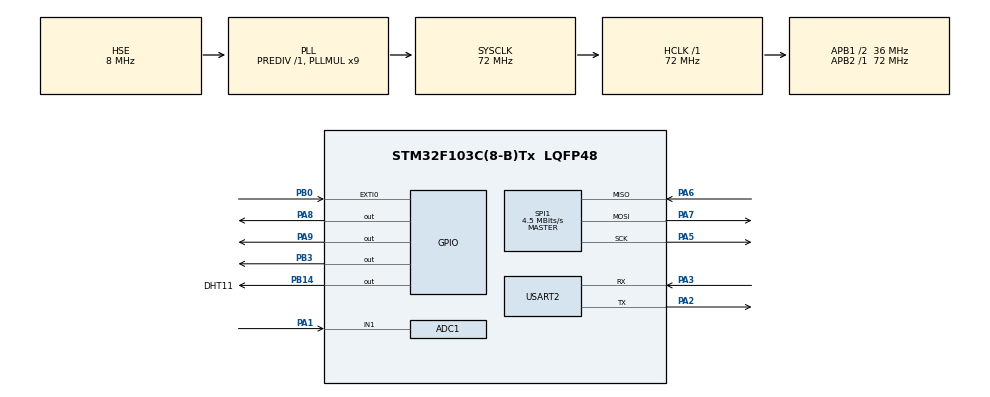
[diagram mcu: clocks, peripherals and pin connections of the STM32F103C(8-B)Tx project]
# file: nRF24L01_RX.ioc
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ADC1.Channel-0\#ChannelRegularConversion=ADC_CHANNEL_1
ADC1.ContinuousConvMode=ENABLE
ADC1.NbrOfConversionFlag=1
ADC1.Rank-0\#ChannelRegularConversion=1
ADC1.SamplingTime-0\#ChannelRegularConversion=ADC_SAMPLETIME_1CYCLE_5
ADC1.master=1
Mcu.Family=STM32F1
Mcu.Name=STM32F103C(8-B)Tx
Mcu.Package=LQFP48
NVIC.EXTI0_IRQn=true\:1\:0\:true\:false\:true\:true\:true
NVIC.PriorityGroup=NVIC_PRIORITYGROUP_4
PA1.Signal=ADCx_IN1
PA13.Mode=Serial_Wire
PA13.Signal=SYS_JTMS-SWDIO
PA14.Mode=Serial_Wire
PA14.Signal=SYS_JTCK-SWCLK
PA2.Mode=Asynchronous
PA2.Signal=USART2_TX
PA3.Mode=Asynchronous
PA3.Signal=USART2_RX
PA5.Mode=Full_Duplex_Master
PA5.Signal=SPI1_SCK
PA6.Mode=Full_Duplex_Master
PA6.Signal=SPI1_MISO
PA7.Mode=Full_Duplex_Master
PA7.Signal=SPI1_MOSI
PA8.Signal=GPIO_Output
PA9.Signal=GPIO_Output
PB0.GPIO_ModeDefaultEXTI=GPIO_MODE_IT_FALLING
PB0.GPIO_PuPd=GPIO_PULLUP
PB0.Signal=GPXTI0
PB14.GPIO_Label=DHT11
PB14.GPIO_Speed=GPIO_SPEED_FREQ_LOW
PB14.PinState=GPIO_PIN_SET
PB14.Signal=GPIO_Output
PB3.Signal=GPIO_Output
PD0-OSC_IN.Mode=HSE-External-Oscillator
PD0-OSC_IN.Signal=RCC_OSC_IN
PD1-OSC_OUT.Mode=HSE-External-Oscillator
PD1-OSC_OUT.Signal=RCC_OSC_OUT
ProjectManager.HeapSize=0x200
ProjectManager.StackSize=0x400
ProjectManager.TargetToolchain=MDK-ARM V5
RCC.ADCPresc=RCC_ADCPCLK2_DIV6
RCC.AHBFreq_Value=72000000
RCC.APB1CLKDivider=RCC_HCLK_DIV2
RCC.APB1Freq_Value=36000000
RCC.APB1TimFreq_Value=72000000
RCC.APB2Freq_Value=72000000
RCC.APB2TimFreq_Value=72000000
RCC.HCLKFreq_Value=72000000
RCC.PLLMUL=RCC_PLL_MUL9
RCC.PLLSourceVirtual=RCC_PLLSOURCE_HSE
RCC.SYSCLKFreq_VALUE=72000000
RCC.SYSCLKSource=RCC_SYSCLKSOURCE_PLLCLK
RCC.USBFreq_Value=72000000
SH.ADCx_IN1.0=ADC1_IN1,IN1
SPI1.BaudRatePrescaler=SPI_BAUDRATEPRESCALER_16
SPI1.CalculateBaudRate=4.5 MBits/s
SPI1.Direction=SPI_DIRECTION_2LINES
SPI1.Mode=SPI_MODE_MASTER
SPI1.VirtualType=VM_MASTER
TIM2.Prescaler=72-1
TIM4.Prescaler=72-1
USART2.VirtualMode=VM_ASYNC
VP_TIM2_VS_ClockSourceINT.Mode=Internal
VP_TIM4_VS_ClockSourceINT.Mode=Internal
board=custom

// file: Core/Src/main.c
/* USER CODE BEGIN Header */
/**
  ******************************************************************************
  * @file           : main.c
  * @brief          : Main program body
  ******************************************************************************
  * @attention
  *
  * <h2><center>&copy; Copyright (c) 2021 STMicroelectronics.
  * All rights reserved.</center></h2>
  *
  * This software component is licensed by ST under BSD 3-Clause license,
  * the "License"; You may not use this file except in compliance with the
  * License. You may obtain a copy of the License at:
  *                        opensource.org/licenses/BSD-3-Clause
  *
  ******************************************************************************
  */
/* USER CODE END Header */
#include "main.h"

/* USER CODE BEGIN Includes */
#include "NRF24L01.h"
#include "string.h"
#include "stdio.h"

/* USER CODE END Includes */

ADC_HandleTypeDef hadc1;

SPI_HandleTypeDef hspi1;

TIM_HandleTypeDef htim2;
TIM_HandleTypeDef htim4;

UART_HandleTypeDef huart2;

/* USER CODE BEGIN PV */
uint8_t RxAddress[]={0x00,0xDD,0xCC,0xBB,0xAA};
uint8_t TxAddress[]={0x11,0xDD,0xCC,0xBB,0xAA};
uint8_t TxAddress1[]={0x22,0xDD,0xCC,0xBB,0xAA};
uint8_t TxData1[32];
uint8_t RxData[32];

float voltage_value,adc_value,moisture_value;
int moisturefinal=0;

uint16_t rh_byte1,rh_byte2, temp_byte1,temp_byte2;
uint16_t sum,rh,temp,presence=0;
int temperature=0,humidity=0;

void delay(uint16_t time)
{
	__HAL_TIM_SET_COUNTER(&htim2,0);
	while((__HAL_TIM_GET_COUNTER(&htim2))<time);
}

void set_pin_output(GPIO_TypeDef *GPIOx, uint16_t GPIO_Pin)
{
	GPIO_InitTypeDef GPIO_InitStruct = {0};
	GPIO_InitStruct.Pin = GPIO_Pin;
  GPIO_InitStruct.Mode = GPIO_MODE_OUTPUT_PP;
  GPIO_InitStruct.Speed = GPIO_SPEED_FREQ_LOW;
  HAL_GPIO_Init(GPIOx, &GPIO_InitStruct);
}
void set_pin_input(GPIO_TypeDef *GPIOx, uint16_t GPIO_Pin)
{
	GPIO_InitTypeDef GPIO_InitStruct = {0};
	GPIO_InitStruct.Pin = GPIO_Pin;
  GPIO_InitStruct.Mode = GPIO_MODE_INPUT;
  GPIO_InitStruct.Pull = GPIO_NOPULL;
  HAL_GPIO_Init(GPIOx, &GPIO_InitStruct);
}
void dht11_init(void)
{
	set_pin_output(DHT11_GPIO_Port,DHT11_Pin);
	HAL_GPIO_WritePin(DHT11_GPIO_Port,DHT11_Pin,GPIO_PIN_RESET);
	HAL_Delay(25);
	HAL_GPIO_WritePin(DHT11_GPIO_Port,DHT11_Pin,GPIO_PIN_SET);
	delay(30);
	set_pin_input(DHT11_GPIO_Port,DHT11_Pin);

}
short check_response(){
  delay(40);
  if(!HAL_GPIO_ReadPin(DHT11_GPIO_Port,DHT11_Pin)){                     // Read and test if connection pin is low
    delay(80);
    if(HAL_GPIO_ReadPin(DHT11_GPIO_Port,DHT11_Pin)){                    // Read and test if connection pin is high
      delay(50);
      return 1;}
    }
	return 0;
}

uint8_t read(void)
{
	uint8_t i,j;
	for(j=0;j<8;j++)
	{
		while (!(HAL_GPIO_ReadPin (DHT11_GPIO_Port,DHT11_Pin)));
		delay(40);
		if(!HAL_GPIO_ReadPin (DHT11_GPIO_Port, DHT11_Pin))
		{
			i&= ~(1<<(7-j));
		}
		else
		{
			i|= (1<<(7-j));
		}
		while ((HAL_GPIO_ReadPin (DHT11_GPIO_Port,DHT11_Pin)));

  }
			return i	;
}
void ParseData(char * TxData, uint8_t temp, uint8_t humi, uint8_t moil){
	char Temperature[10];
	char Humidity[10];
	char Doamdat[10];
	for (int i=0;i<strlen(TxData);i++){
		TxData[i]=0;
	}
	sprintf(Doamdat,"%d",moil);
	sprintf(Temperature,"%d",temp);
	sprintf(Humidity,"%d",humi);

	strcat(TxData,"{\"T2\":\"");
	strcat(TxData,Temperature);
	strcat(TxData,"\",");

	strcat(TxData,"\"H2\":\"");
	strcat(TxData,Humidity);
	strcat(TxData,"\",");

	strcat(TxData,"\"M2\":\"");
	strcat(TxData,Doamdat);
	strcat(TxData,"\"}");
}
void getdata(){
	HAL_TIM_Base_Start(&htim2);
	dht11_init();
	presence=check_response();
	rh_byte1=read();
	rh_byte2=read();
	temp_byte1=read();
	temp_byte2=read();
	sum=read();
	temp=temp_byte1;
	rh=rh_byte1;
	temperature=(int) temp;//temp
	humidity=(int) rh;//humi
	adc_value= HAL_ADC_GetValue(&hadc1);
	voltage_value=(adc_value/4096)*3.3;
	moisture_value= (100-(voltage_value/3.3)*100);
	moisturefinal = (int)moisture_value;//mois
}
/* USER CODE END PV */

void SystemClock_Config(void);
static void MX_GPIO_Init(void);
static void MX_SPI1_Init(void);
static void MX_USART2_UART_Init(void);
static void MX_ADC1_Init(void);
static void MX_TIM2_Init(void);
static void MX_TIM4_Init(void);

/* USER CODE BEGIN 0 */

void HAL_GPIO_EXTI_Callback(uint16_t GPIO_Pin)
{
	HAL_ResumeTick();
	int a,b;

	__HAL_TIM_SetCounter(&htim4,0);
	if(IsDataAvailable(1)==1)
		{
		NRF24_Receive(RxData);
		a= __HAL_TIM_GetCounter(&htim4);
		printf("%d\n",a);
		HAL_GPIO_TogglePin(GPIOB,GPIO_PIN_3);

		getdata();
		ParseData((char *)TxData1,temperature, humidity,moisturefinal);
		__HAL_TIM_SetCounter(&htim4,0);
		NRF24_Init();
		NRF24_TxMode(TxAddress,10);
		NRF24_Transmit(RxData);
		b= __HAL_TIM_GetCounter(&htim4);
		printf("%d\n",b);
//		HAL_Delay(100);
		NRF24_Init();
		NRF24_TxMode(TxAddress1,10);
		NRF24_Transmit(TxData1);
		NRF24_Init();
		NRF24_RxMode(RxAddress,10);
		}
}

#ifdef __GNUC__
     #define PUTCHAR_PROTOTYPE int __io_putchar(int ch)
#else
     #define PUTCHAR_PROTOTYPE int fputc(int ch, FILE *f)
#endif
PUTCHAR_PROTOTYPE
{
	HAL_UART_Transmit(&huart2,(uint8_t *)&ch,1,0xFFFF);
	return ch;
}
/* USER CODE END 0 */

int main(void)
{

  /* MCU Configuration--------------------------------------------------------*/

  /* Reset of all peripherals, Initializes the Flash interface and the Systick. */
  HAL_Init();

  /* Configure the system clock */
  SystemClock_Config();

  /* Initialize all configured peripherals */
  MX_GPIO_Init();
  MX_SPI1_Init();
  MX_USART2_UART_Init();
  MX_ADC1_Init();
  MX_TIM2_Init();
  MX_TIM4_Init();
  /* USER CODE BEGIN 2 */
	HAL_TIM_Base_Start(&htim4);
  HAL_ADC_Start(&hadc1);
	NRF24_Init();
	NRF24_RxMode(RxAddress,10);

  /* USER CODE END 2 */

  /* Infinite loop */
  /* USER CODE BEGIN WHILE */
//	HAL_UART_Transmit(&huart2,a, 5,100);
//	IsDataAvailable(1);
  while (1)
  {
    /* USER CODE END WHILE */

    /* USER CODE BEGIN 3 */
		HAL_SuspendTick();
		HAL_PWR_EnterSLEEPMode(PWR_LOWPOWERREGULATOR_ON, PWR_SLEEPENTRY_WFI);
  }

  /* USER CODE END 3 */
}

void SystemClock_Config(void)
{
  RCC_OscInitTypeDef RCC_OscInitStruct = {0};
  RCC_ClkInitTypeDef RCC_ClkInitStruct = {0};
  RCC_PeriphCLKInitTypeDef PeriphClkInit = {0};

  /** Initializes the RCC Oscillators according to the specified parameters
  * in the RCC_OscInitTypeDef structure.
  */
  RCC_OscInitStruct.OscillatorType = RCC_OSCILLATORTYPE_HSE;
  RCC_OscInitStruct.HSEState = RCC_HSE_ON;
  RCC_OscInitStruct.HSEPredivValue = RCC_HSE_PREDIV_DIV1;
  RCC_OscInitStruct.HSIState = RCC_HSI_ON;
  RCC_OscInitStruct.PLL.PLLState = RCC_PLL_ON;
  RCC_OscInitStruct.PLL.PLLSource = RCC_PLLSOURCE_HSE;
  RCC_OscInitStruct.PLL.PLLMUL = RCC_PLL_MUL9;
  if (HAL_RCC_OscConfig(&RCC_OscInitStruct) != HAL_OK)
  {
    Error_Handler();
  }
  /** Initializes the CPU, AHB and APB buses clocks
  */
  RCC_ClkInitStruct.ClockType = RCC_CLOCKTYPE_HCLK|RCC_CLOCKTYPE_SYSCLK
                              |RCC_CLOCKTYPE_PCLK1|RCC_CLOCKTYPE_PCLK2;
  RCC_ClkInitStruct.SYSCLKSource = RCC_SYSCLKSOURCE_PLLCLK;
  RCC_ClkInitStruct.AHBCLKDivider = RCC_SYSCLK_DIV1;
  RCC_ClkInitStruct.APB1CLKDivider = RCC_HCLK_DIV2;
  RCC_ClkInitStruct.APB2CLKDivider = RCC_HCLK_DIV1;

  if (HAL_RCC_ClockConfig(&RCC_ClkInitStruct, FLASH_LATENCY_2) != HAL_OK)
  {
    Error_Handler();
  }
  PeriphClkInit.PeriphClockSelection = RCC_PERIPHCLK_ADC;
  PeriphClkInit.AdcClockSelection = RCC_ADCPCLK2_DIV6;
  if (HAL_RCCEx_PeriphCLKConfig(&PeriphClkInit) != HAL_OK)
  {
    Error_Handler();
  }
}

static void MX_ADC1_Init(void)
{

  ADC_ChannelConfTypeDef sConfig = {0};

  /** Common config
  */
  hadc1.Instance = ADC1;
  hadc1.Init.ScanConvMode = ADC_SCAN_DISABLE;
  hadc1.Init.ContinuousConvMode = ENABLE;
  hadc1.Init.DiscontinuousConvMode = DISABLE;
  hadc1.Init.ExternalTrigConv = ADC_SOFTWARE_START;
  hadc1.Init.DataAlign = ADC_DATAALIGN_RIGHT;
  hadc1.Init.NbrOfConversion = 1;
  if (HAL_ADC_Init(&hadc1) != HAL_OK)
  {
    Error_Handler();
  }
  /** Configure Regular Channel
  */
  sConfig.Channel = ADC_CHANNEL_1;
  sConfig.Rank = ADC_REGULAR_RANK_1;
  sConfig.SamplingTime = ADC_SAMPLETIME_1CYCLE_5;
  if (HAL_ADC_ConfigChannel(&hadc1, &sConfig) != HAL_OK)
  {
    Error_Handler();
  }

}

static void MX_SPI1_Init(void)
{

  /* SPI1 parameter configuration*/
  hspi1.Instance = SPI1;
  hspi1.Init.Mode = SPI_MODE_MASTER;
  hspi1.Init.Direction = SPI_DIRECTION_2LINES;
  hspi1.Init.DataSize = SPI_DATASIZE_8BIT;
  hspi1.Init.CLKPolarity = SPI_POLARITY_LOW;
  hspi1.Init.CLKPhase = SPI_PHASE_1EDGE;
  hspi1.Init.NSS = SPI_NSS_SOFT;
  hspi1.Init.BaudRatePrescaler = SPI_BAUDRATEPRESCALER_16;
  hspi1.Init.FirstBit = SPI_FIRSTBIT_MSB;
  hspi1.Init.TIMode = SPI_TIMODE_DISABLE;
  hspi1.Init.CRCCalculation = SPI_CRCCALCULATION_DISABLE;
  hspi1.Init.CRCPolynomial = 10;
  if (HAL_SPI_Init(&hspi1) != HAL_OK)
  {
    Error_Handler();
  }

}

static void MX_TIM2_Init(void)
{

  TIM_ClockConfigTypeDef sClockSourceConfig = {0};
  TIM_MasterConfigTypeDef sMasterConfig = {0};

  htim2.Instance = TIM2;
  htim2.Init.Prescaler = 72-1;
  htim2.Init.CounterMode = TIM_COUNTERMODE_UP;
  htim2.Init.Period = 65535;
  htim2.Init.ClockDivision = TIM_CLOCKDIVISION_DIV1;
  htim2.Init.AutoReloadPreload = TIM_AUTORELOAD_PRELOAD_DISABLE;
  if (HAL_TIM_Base_Init(&htim2) != HAL_OK)
  {
    Error_Handler();
  }
  sClockSourceConfig.ClockSource = TIM_CLOCKSOURCE_INTERNAL;
  if (HAL_TIM_ConfigClockSource(&htim2, &sClockSourceConfig) != HAL_OK)
  {
    Error_Handler();
  }
  sMasterConfig.MasterOutputTrigger = TIM_TRGO_RESET;
  sMasterConfig.MasterSlaveMode = TIM_MASTERSLAVEMODE_DISABLE;
  if (HAL_TIMEx_MasterConfigSynchronization(&htim2, &sMasterConfig) != HAL_OK)
  {
    Error_Handler();
  }

}

static void MX_TIM4_Init(void)
{

  TIM_ClockConfigTypeDef sClockSourceConfig = {0};
  TIM_MasterConfigTypeDef sMasterConfig = {0};

  htim4.Instance = TIM4;
  htim4.Init.Prescaler = 72-1;
  htim4.Init.CounterMode = TIM_COUNTERMODE_UP;
  htim4.Init.Period = 65535;
  htim4.Init.ClockDivision = TIM_CLOCKDIVISION_DIV1;
  htim4.Init.AutoReloadPreload = TIM_AUTORELOAD_PRELOAD_DISABLE;
  if (HAL_TIM_Base_Init(&htim4) != HAL_OK)
  {
    Error_Handler();
  }
  sClockSourceConfig.ClockSource = TIM_CLOCKSOURCE_INTERNAL;
  if (HAL_TIM_ConfigClockSource(&htim4, &sClockSourceConfig) != HAL_OK)
  {
    Error_Handler();
  }
  sMasterConfig.MasterOutputTrigger = TIM_TRGO_RESET;
  sMasterConfig.MasterSlaveMode = TIM_MASTERSLAVEMODE_DISABLE;
  if (HAL_TIMEx_MasterConfigSynchronization(&htim4, &sMasterConfig) != HAL_OK)
  {
    Error_Handler();
  }

}

static void MX_USART2_UART_Init(void)
{

  huart2.Instance = USART2;
  huart2.Init.BaudRate = 115200;
  huart2.Init.WordLength = UART_WORDLENGTH_8B;
  huart2.Init.StopBits = UART_STOPBITS_1;
  huart2.Init.Parity = UART_PARITY_NONE;
  huart2.Init.Mode = UART_MODE_TX_RX;
  huart2.Init.HwFlowCtl = UART_HWCONTROL_NONE;
  huart2.Init.OverSampling = UART_OVERSAMPLING_16;
  if (HAL_UART_Init(&huart2) != HAL_OK)
  {
    Error_Handler();
  }

}

static void MX_GPIO_Init(void)
{
  GPIO_InitTypeDef GPIO_InitStruct = {0};

  /* GPIO Ports Clock Enable */
  __HAL_RCC_GPIOD_CLK_ENABLE();
  __HAL_RCC_GPIOA_CLK_ENABLE();
  __HAL_RCC_GPIOB_CLK_ENABLE();

  /*Configure GPIO pin Output Level */
  HAL_GPIO_WritePin(DHT11_GPIO_Port, DHT11_Pin, GPIO_PIN_SET);

  /*Configure GPIO pin Output Level */
  HAL_GPIO_WritePin(GPIOA, GPIO_PIN_8|GPIO_PIN_9, GPIO_PIN_RESET);

  /*Configure GPIO pin Output Level */
  HAL_GPIO_WritePin(GPIOB, GPIO_PIN_3, GPIO_PIN_RESET);

  /*Configure GPIO pin : PB0 */
  GPIO_InitStruct.Pin = GPIO_PIN_0;
  GPIO_InitStruct.Mode = GPIO_MODE_IT_FALLING;
  GPIO_InitStruct.Pull = GPIO_PULLUP;
  HAL_GPIO_Init(GPIOB, &GPIO_InitStruct);

  /*Configure GPIO pins : DHT11_Pin PB3 */
  GPIO_InitStruct.Pin = DHT11_Pin|GPIO_PIN_3;
  GPIO_InitStruct.Mode = GPIO_MODE_OUTPUT_PP;
  GPIO_InitStruct.Pull = GPIO_NOPULL;
  GPIO_InitStruct.Speed = GPIO_SPEED_FREQ_LOW;
  HAL_GPIO_Init(GPIOB, &GPIO_InitStruct);

  /*Configure GPIO pins : PA8 PA9 */
  GPIO_InitStruct.Pin = GPIO_PIN_8|GPIO_PIN_9;
  GPIO_InitStruct.Mode = GPIO_MODE_OUTPUT_PP;
  GPIO_InitStruct.Pull = GPIO_NOPULL;
  GPIO_InitStruct.Speed = GPIO_SPEED_FREQ_LOW;
  HAL_GPIO_Init(GPIOA, &GPIO_InitStruct);

  /* EXTI interrupt init*/
  HAL_NVIC_SetPriority(EXTI0_IRQn, 1, 0);
  HAL_NVIC_EnableIRQ(EXTI0_IRQn);

}

void Error_Handler(void)
{
  __disable_irq();
  while (1)
  {
  }
}

/************************ (C) COPYRIGHT STMicroelectronics *****END OF FILE****/
